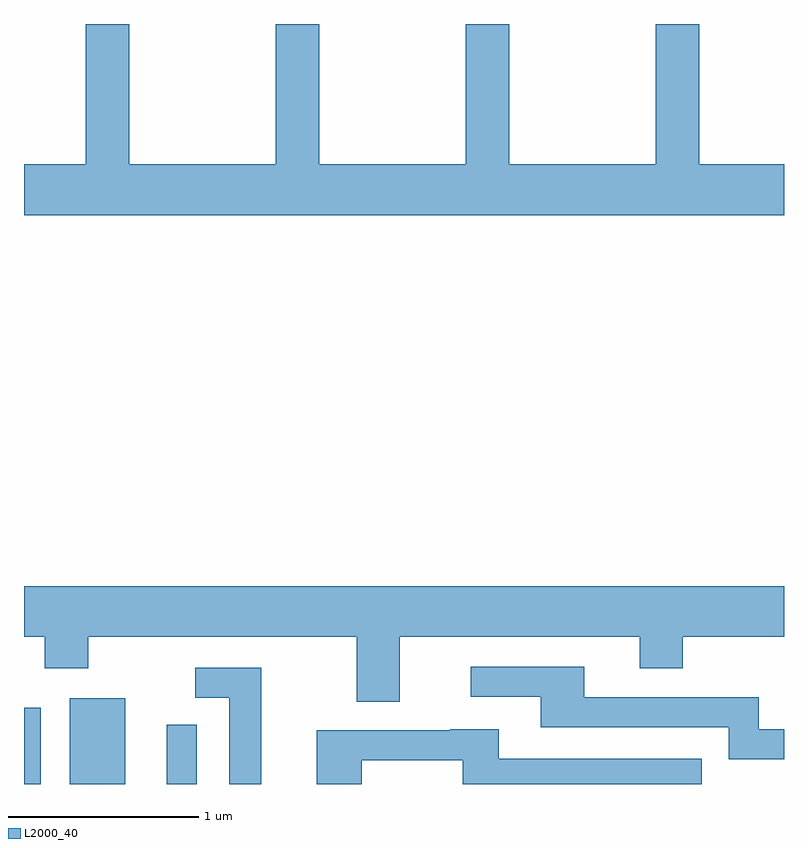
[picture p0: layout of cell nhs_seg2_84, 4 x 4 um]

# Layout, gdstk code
import gdstk
lib = gdstk.Library(unit=1e-6, precision=1e-09)
def R(c, l, rs):  # rectangles x0, y0, x1, y1
    for r in rs: c.add(gdstk.rectangle(r[:2], r[2:], *l))
def P(c, l, *ps):  # polygons
    for p in ps: c.add(gdstk.Polygon(p, *l))
L2000_40 = (2000, 40)

nhs_seg2_84 = lib.new_cell('nhs_seg2_84')
R(nhs_seg2_84, L2000_40, [(187.611,1009.802,187.699,1010.204), (187.851,1009.802,188.144,1010.254), (188.361,1009.802,188.519,1010.113)])
P(nhs_seg2_84, L2000_40, [(191.611,1013.064),(191.164,1013.064),(191.164,1013.802),(190.936,1013.802),(190.936,1013.064),(190.164,1013.064),(190.164,1013.802),(189.936,1013.802),(189.936,1013.064),(189.164,1013.064),(189.164,1013.802),(188.936,1013.802),(188.936,1013.064),(188.164,1013.064),(188.164,1013.802),(187.936,1013.802),(187.936,1013.064),(187.611,1013.064),(187.611,1012.796),(191.611,1012.796)],
  [(189.589,1010.576),(190.851,1010.576),(190.851,1010.411),(191.079,1010.411),(191.079,1010.576),(191.611,1010.576),(191.611,1010.844),(187.611,1010.844),(187.611,1010.576),(187.721,1010.576),(187.721,1010.411),(187.949,1010.411),(187.949,1010.576),(189.361,1010.576),(189.361,1010.236),(189.589,1010.236)],
  [(191.611,1010.089),(191.479,1010.089),(191.479,1010.259),(190.559,1010.259),(190.559,1010.419),(189.963,1010.419),(189.963,1010.261),(190.331,1010.261),(190.331,1010.101),(191.321,1010.101),(191.321,1009.931),(191.611,1009.931)],
  [(188.859,1010.414),(188.513,1010.414),(188.513,1010.256),(188.691,1010.256),(188.691,1009.802),(188.859,1009.802)],
  [(189.389,1009.926),(189.921,1009.926),(189.921,1009.802),(191.178,1009.802),(191.178,1009.934),(190.109,1009.934),(190.109,1010.089),(189.855,1010.089),(189.855,1010.084),(189.151,1010.084),(189.151,1009.802),(189.389,1009.802)])

lib.write_gds('nhs_seg2_84.gds')
